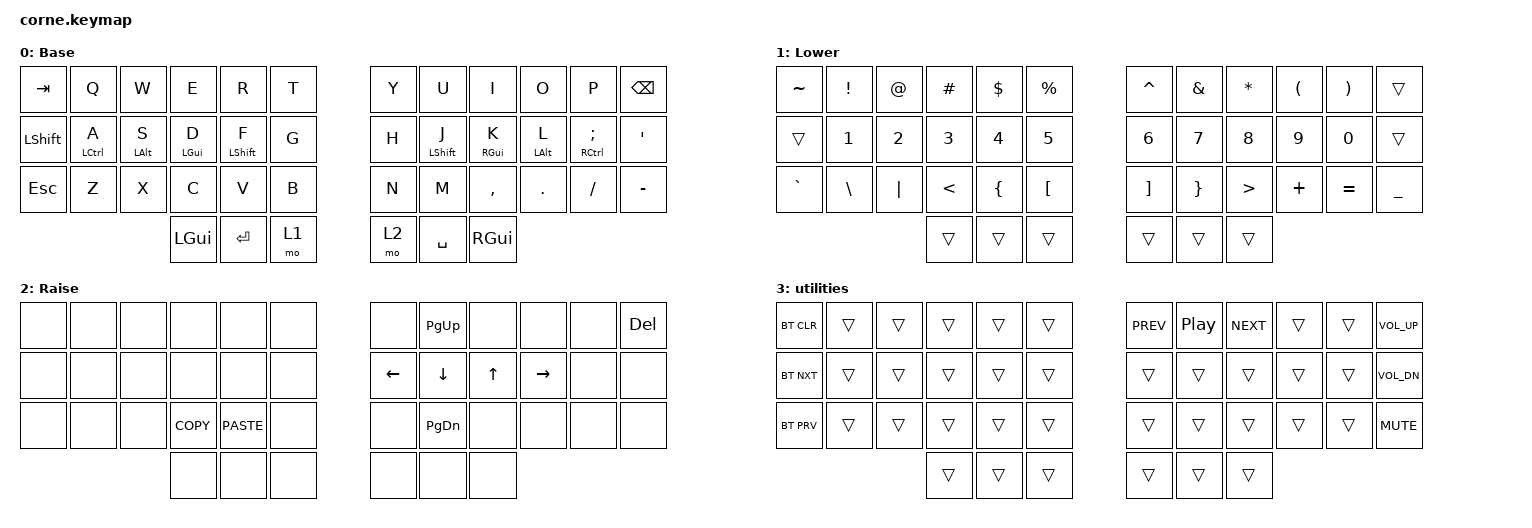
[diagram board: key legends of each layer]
/*
 * Copyright (c) 2020 The ZMK Contributors
 *
 * SPDX-License-Identifier: MIT
 */

#include <behaviors.dtsi>
#include <dt-bindings/zmk/bt.h>
#include <dt-bindings/zmk/keys.h>

&mt {
    tapping-term-ms = <250>;
    flavor = "balanced";
};

/ {
    keymap {
        compatible = "zmk,keymap";

        default_layer {
            // -----------------------------------------------------------------------------------------
            // |  TAB |  Q  |  W  |  E  |  R  |  T  |   |  Y  |  U   |  I  |  O  |  P  | BKSP |
            // | CTRL |  A  |  S  |  D  |  F  |  G  |   |  H  |  J   |  K  |  L  |  ;  |  '   |
            // | SHFT |  Z  |  X  |  C  |  V  |  B  |   |  N  |  M   |  ,  |  .  |  /  | ESC  |
            //                    | GUI | LWR | SPC |   | ENT | RSE  | ALT |

            display-name = "Base";
            bindings = <
&kp TAB         &kp Q        &kp W           &kp E           &kp R             &kp T    &kp Y  &kp U             &kp I            &kp O           &kp P           &kp BSPC
&kp LEFT_SHIFT  &mt LCTRL A  &mt LEFT_ALT S  &mt LEFT_GUI D  &mt LEFT_SHIFT F  &kp G    &kp H  &mt LEFT_SHIFT J  &mt RIGHT_GUI K  &mt LEFT_ALT L  &mt RCTRL SEMI  &kp SQT
&kp ESC         &kp Z        &kp X           &kp C           &kp V             &kp B    &kp N  &kp M             &kp COMMA        &kp DOT         &kp FSLH        &kp MINUS
                                             &kp LGUI        &kp RETURN        &mo 1    &mo 2  &kp SPACE         &kp RIGHT_GUI
            >;
        };

        lower_layer {
            // -----------------------------------------------------------------------------------------
            // |  TAB |  1  |  2  |  3  |  4  |  5  |   |  6  |  7  |  8  |  9  |  0  | BKSP |
            // | BTCLR| BT1 | BT2 | BT3 | BT4 | BT5 |   | LFT | DWN |  UP | RGT |     |      |
            // | SHFT |     |     |     |     |     |   |     |     |     |     |     |      |
            //                    | GUI |     | SPC |   | ENT |     | ALT |

            display-name = "Lower";
            bindings = <
&kp TILDE  &kp EXCL       &kp AT        &kp HASH       &kp DOLLAR      &kp PERCENT         &kp CARET          &kp AMPS         &kp ASTERISK      &kp LEFT_PARENTHESIS  &kp RIGHT_PARENTHESIS  &trans
&trans     &kp NUMBER_1   &kp NUMBER_2  &kp NUMBER_3   &kp NUMBER_4    &kp N5              &kp NUMBER_6       &kp N7           &kp N8            &kp N9                &kp N0                 &trans
&kp GRAVE  &kp BACKSLASH  &kp PIPE      &kp LESS_THAN  &kp LEFT_BRACE  &kp LEFT_BRACKET    &kp RIGHT_BRACKET  &kp RIGHT_BRACE  &kp GREATER_THAN  &kp PLUS              &kp EQUAL              &kp UNDER
                                        &trans         &trans          &trans              &trans             &trans           &trans
            >;
        };

        raise_layer {
            // -----------------------------------------------------------------------------------------
            // |  TAB |  !  |  @  |  #  |  $  |  %  |   |  ^  |  &  |  *  |  (  |  )  | BKSP |
            // | CTRL |     |     |     |     |     |   |  -  |  =  |  [  |  ]  |  \  |  `   |
            // | SHFT |     |     |     |     |     |   |  _  |  +  |  {  |  }  | "|" |  ~   |
            //                    | GUI |     | SPC |   | ENT |     | ALT |

            display-name = "Raise";
            bindings = <
&none  &none  &none  &none       &none        &none    &none           &kp PAGE_UP     &none         &none      &none  &kp DELETE
&none  &none  &none  &none       &none        &none    &kp LEFT_ARROW  &kp DOWN_ARROW  &kp UP_ARROW  &kp RIGHT  &none  &none
&none  &none  &none  &kp K_COPY  &kp K_PASTE  &none    &none           &kp PAGE_DOWN   &none         &none      &none  &none
                     &none       &none        &none    &none           &none           &none
            >;
        };

        utilities {
            bindings = <
&bt BT_CLR  &trans  &trans  &trans  &trans  &trans    &kp C_PREV  &kp C_PLAY_PAUSE  &kp C_NEXT  &trans  &trans  &kp C_VOL_UP
&bt BT_NXT  &trans  &trans  &trans  &trans  &trans    &trans      &trans            &trans      &trans  &trans  &kp C_VOL_DN
&bt BT_PRV  &trans  &trans  &trans  &trans  &trans    &trans      &trans            &trans      &trans  &trans  &kp C_MUTE
                            &trans  &trans  &trans    &trans      &trans            &trans
            >;
        };
    };

    conditional_layers {
        compatible = "zmk,conditional-layers";

        utilies {
            if-layers = <1 2>;
            then-layer = <3>;
        };
    };
};
